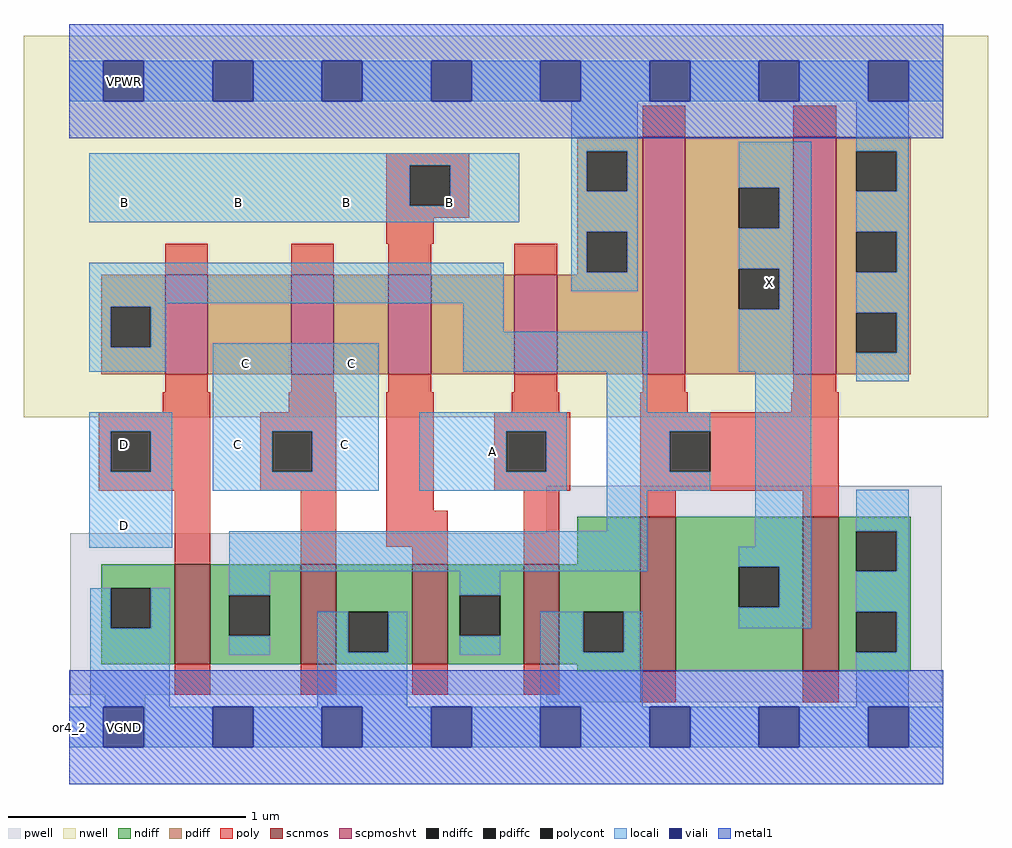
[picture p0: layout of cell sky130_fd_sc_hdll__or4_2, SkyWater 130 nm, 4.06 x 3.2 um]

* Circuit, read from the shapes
.subckt sky130_fd_sc_hdll__or4_2 A B C D VGND VNB VPB VPWR X
XM1 n1 D VGND VNB sky130_fd_pr__nfet_01v8 w=0.42 l=0.15
XM2 VGND C n1 VNB sky130_fd_pr__nfet_01v8 w=0.42 l=0.15
XM3 n1 B VGND VNB sky130_fd_pr__nfet_01v8 w=0.42 l=0.15
XM4 VGND A n1 VNB sky130_fd_pr__nfet_01v8 w=0.42 l=0.15
XM5 X n1 VGND VNB sky130_fd_pr__nfet_01v8 w=0.65 l=0.15 m=2
XM6 n2 D n1 VPB sky130_fd_pr__pfet_01v8_hvt w=0.42 l=0.18
XM7 n3 C n2 VPB sky130_fd_pr__pfet_01v8_hvt w=0.42 l=0.18
XM8 n4 B n3 VPB sky130_fd_pr__pfet_01v8_hvt w=0.42 l=0.18
XM9 VPWR A n4 VPB sky130_fd_pr__pfet_01v8_hvt w=0.42 l=0.18
XM10 X n1 VPWR VPB sky130_fd_pr__pfet_01v8_hvt w=1 l=0.18 m=2
.ends

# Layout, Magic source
magic
tech sky130A
magscale 1 2
<< nwell >>
rect -38 261 774 582
<< pwell >>
rect 402 163 735 203
rect 1 27 735 163
rect 30 -17 64 27
rect 402 21 735 27
<< scnmos >>
rect 89 53 119 137
rect 195 53 225 137
rect 289 53 319 137
rect 383 53 413 137
rect 481 47 511 177
rect 618 47 648 177
<< scpmoshvt >>
rect 81 297 117 381
rect 187 297 223 381
rect 269 297 305 381
rect 375 297 411 381
rect 483 297 519 497
rect 610 297 646 497
<< ndiff >>
rect 428 137 481 177
rect 27 117 89 137
rect 27 83 35 117
rect 69 83 89 117
rect 27 53 89 83
rect 119 111 195 137
rect 119 77 135 111
rect 169 77 195 111
rect 119 53 195 77
rect 225 97 289 137
rect 225 63 235 97
rect 269 63 289 97
rect 225 53 289 63
rect 319 111 383 137
rect 319 77 329 111
rect 363 77 383 111
rect 319 53 383 77
rect 413 97 481 137
rect 413 63 433 97
rect 467 63 481 97
rect 413 53 481 63
rect 428 47 481 53
rect 511 135 618 177
rect 511 101 564 135
rect 598 101 618 135
rect 511 47 618 101
rect 648 165 709 177
rect 648 131 663 165
rect 697 131 709 165
rect 648 97 709 131
rect 648 63 663 97
rect 697 63 709 97
rect 648 47 709 63
<< pdiff >>
rect 428 485 483 497
rect 428 451 436 485
rect 470 451 483 485
rect 428 417 483 451
rect 428 383 436 417
rect 470 383 483 417
rect 428 381 483 383
rect 27 354 81 381
rect 27 320 35 354
rect 69 320 81 354
rect 27 297 81 320
rect 117 297 187 381
rect 223 297 269 381
rect 305 297 375 381
rect 411 297 483 381
rect 519 454 610 497
rect 519 420 564 454
rect 598 420 610 454
rect 519 386 610 420
rect 519 352 564 386
rect 598 352 610 386
rect 519 297 610 352
rect 646 485 709 497
rect 646 451 663 485
rect 697 451 709 485
rect 646 417 709 451
rect 646 383 663 417
rect 697 383 709 417
rect 646 349 709 383
rect 646 315 663 349
rect 697 315 709 349
rect 646 297 709 315
<< ndiffc >>
rect 35 83 69 117
rect 135 77 169 111
rect 235 63 269 97
rect 329 77 363 111
rect 433 63 467 97
rect 564 101 598 135
rect 663 131 697 165
rect 663 63 697 97
<< pdiffc >>
rect 436 451 470 485
rect 436 383 470 417
rect 35 320 69 354
rect 564 420 598 454
rect 564 352 598 386
rect 663 451 697 485
rect 663 383 697 417
rect 663 315 697 349
<< poly >>
rect 483 497 519 523
rect 610 497 646 523
rect 267 473 337 483
rect 267 439 287 473
rect 321 439 337 473
rect 267 429 337 439
rect 267 407 307 429
rect 81 381 117 407
rect 187 381 223 407
rect 269 381 305 407
rect 375 381 411 407
rect 81 282 117 297
rect 187 282 223 297
rect 269 282 305 297
rect 375 282 411 297
rect 483 282 519 297
rect 610 282 646 297
rect 79 265 119 282
rect 185 265 225 282
rect 25 249 119 265
rect 25 215 35 249
rect 69 215 119 249
rect 25 199 119 215
rect 161 249 225 265
rect 161 215 171 249
rect 205 215 225 249
rect 161 199 225 215
rect 89 137 119 199
rect 195 137 225 199
rect 267 182 307 282
rect 373 265 413 282
rect 481 265 521 282
rect 608 265 648 282
rect 358 249 422 265
rect 358 215 368 249
rect 402 215 422 249
rect 358 199 422 215
rect 481 249 648 265
rect 481 215 506 249
rect 540 215 648 249
rect 481 199 648 215
rect 267 152 319 182
rect 289 137 319 152
rect 383 137 413 199
rect 481 177 511 199
rect 618 177 648 199
rect 89 27 119 53
rect 195 27 225 53
rect 289 27 319 53
rect 383 27 413 53
rect 481 21 511 47
rect 618 21 648 47
<< polycont >>
rect 287 439 321 473
rect 35 215 69 249
rect 171 215 205 249
rect 368 215 402 249
rect 506 215 540 249
<< locali >>
rect 0 527 29 561
rect 63 527 121 561
rect 155 527 213 561
rect 247 527 305 561
rect 339 527 397 561
rect 431 527 489 561
rect 523 527 581 561
rect 615 527 673 561
rect 707 527 736 561
rect 423 485 479 527
rect 17 473 379 483
rect 17 439 287 473
rect 321 439 379 473
rect 17 425 379 439
rect 423 451 436 485
rect 470 451 479 485
rect 423 417 479 451
rect 17 357 366 391
rect 423 383 436 417
rect 470 383 479 417
rect 423 367 479 383
rect 564 454 625 493
rect 598 420 625 454
rect 564 386 625 420
rect 17 354 82 357
rect 17 320 35 354
rect 69 320 82 354
rect 332 333 366 357
rect 598 352 625 386
rect 17 299 82 320
rect 17 249 87 265
rect 17 215 35 249
rect 69 215 87 249
rect 17 151 87 215
rect 121 249 261 323
rect 332 299 487 333
rect 564 299 625 352
rect 453 265 487 299
rect 121 215 171 249
rect 205 215 261 249
rect 121 199 261 215
rect 295 249 419 265
rect 295 215 368 249
rect 402 215 419 249
rect 295 199 419 215
rect 453 249 540 265
rect 453 215 506 249
rect 453 199 540 215
rect 453 165 487 199
rect 135 131 487 165
rect 578 152 625 299
rect 663 485 707 527
rect 697 451 707 485
rect 663 417 707 451
rect 697 383 707 417
rect 663 349 707 383
rect 697 315 707 349
rect 663 291 707 315
rect 564 135 625 152
rect 18 83 35 117
rect 69 83 85 117
rect 18 17 85 83
rect 135 111 169 131
rect 329 111 363 131
rect 135 61 169 77
rect 209 63 235 97
rect 269 63 285 97
rect 209 17 285 63
rect 598 101 625 135
rect 329 61 363 77
rect 397 63 433 97
rect 467 63 483 97
rect 564 83 625 101
rect 663 165 707 200
rect 697 131 707 165
rect 663 97 707 131
rect 397 17 483 63
rect 697 63 707 97
rect 663 17 707 63
rect 0 -17 29 17
rect 63 -17 121 17
rect 155 -17 213 17
rect 247 -17 305 17
rect 339 -17 397 17
rect 431 -17 489 17
rect 523 -17 581 17
rect 615 -17 673 17
rect 707 -17 736 17
<< viali >>
rect 29 527 63 561
rect 121 527 155 561
rect 213 527 247 561
rect 305 527 339 561
rect 397 527 431 561
rect 489 527 523 561
rect 581 527 615 561
rect 673 527 707 561
rect 29 -17 63 17
rect 121 -17 155 17
rect 213 -17 247 17
rect 305 -17 339 17
rect 397 -17 431 17
rect 489 -17 523 17
rect 581 -17 615 17
rect 673 -17 707 17
<< metal1 >>
rect 0 561 736 592
rect 0 527 29 561
rect 63 527 121 561
rect 155 527 213 561
rect 247 527 305 561
rect 339 527 397 561
rect 431 527 489 561
rect 523 527 581 561
rect 615 527 673 561
rect 707 527 736 561
rect 0 496 736 527
rect 0 17 736 48
rect 0 -17 29 17
rect 63 -17 121 17
rect 155 -17 213 17
rect 247 -17 305 17
rect 339 -17 397 17
rect 431 -17 489 17
rect 523 -17 581 17
rect 615 -17 673 17
rect 707 -17 736 17
rect 0 -48 736 -17
<< labels >>
flabel locali s 303 425 337 459 0 FreeSans 400 0 0 0 B
port 2 nsew signal input
flabel locali s 215 221 249 255 0 FreeSans 400 0 0 0 C
port 3 nsew signal input
flabel locali s 295 199 419 265 0 FreeSans 400 0 0 0 A
port 1 nsew signal input
flabel locali s 573 357 607 391 0 FreeSans 200 0 0 0 X
port 9 nsew signal output
flabel locali s 125 221 159 255 0 FreeSans 400 0 0 0 C
port 3 nsew signal input
flabel locali s 217 425 251 459 0 FreeSans 400 0 0 0 B
port 2 nsew signal input
flabel locali s 126 425 160 459 0 FreeSans 400 0 0 0 B
port 2 nsew signal input
flabel locali s 132 289 166 323 0 FreeSans 400 0 0 0 C
port 3 nsew signal input
flabel locali s 30 425 64 459 0 FreeSans 400 0 0 0 B
port 2 nsew signal input
flabel locali s 221 289 255 323 0 FreeSans 400 0 0 0 C
port 3 nsew signal input
flabel locali s 30 221 64 255 0 FreeSans 400 0 0 0 D
port 4 nsew signal input
flabel locali s 30 153 64 187 0 FreeSans 400 0 0 0 D
port 4 nsew signal input
flabel metal1 s 30 527 64 561 0 FreeSans 200 0 0 0 VPWR
port 8 nsew power bidirectional
flabel metal1 s 30 -17 64 17 0 FreeSans 200 0 0 0 VGND
port 5 nsew ground bidirectional
flabel nwell s 30 527 64 561 0 FreeSans 200 0 0 0 VPB
port 7 nsew power bidirectional
flabel pwell s 30 -17 64 17 0 FreeSans 200 0 0 0 VNB
port 6 nsew ground bidirectional
rlabel comment s 0 0 0 0 4 or4_2
<< properties >>
string LEFsite unithd
string LEFclass CORE
string FIXED_BBOX 0 0 736 544
string GDS_FILE $PDKPATH/libs.ref/sky130_fd_sc_hdll/gds/sky130_fd_sc_hdll.gds
string LEFsymmetry X Y R90
string GDS_END 248072
string GDS_START 241060
string LEFproperties maskLayoutSubType "abstract" prCellType "standard" originalViewName "layout"
<< end >>
